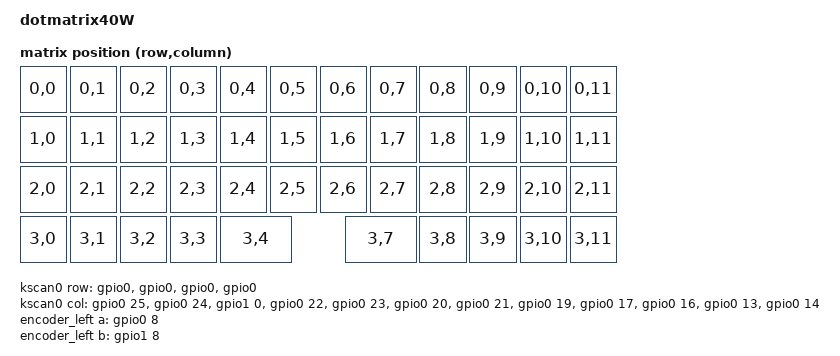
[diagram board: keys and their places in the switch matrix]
/*
 * Copyright (c) 2021 Nick Winans
 * Copyright (c) 2024
 *
 * SPDX-License-Identifier: MIT
 */

/dts-v1/;
#include <nordic/nrf52840_qiaa.dtsi>
#include <common/nordic/nrf52840_uf2_boot_mode.dtsi>

#include <dt-bindings/led/led.h>
#include <dt-bindings/zmk/matrix_transform.h>
#include <dt-bindings/pwm/pwm.h>
#include <dt-bindings/pinctrl/nrf-pinctrl.h>

#include <physical_layouts.dtsi>

#include "dotmatrix40W-pinctrl.dtsi"

/ {
    model = "dotmatrix40W";
    compatible = "dotmatrix40W";

    chosen {
        zephyr,code-partition = &code_partition;
        zephyr,sram = &sram0;
        zephyr,flash = &flash0;
        zmk,battery = &vbatt;
        zmk,kscan = &kscan0;
        zmk,physical-layout = &physical_layout0;
        zmk,underglow = &led_strip;
        zmk,backlight = &backlight;
    };

    default_transform: keymap_transform_0 {
        compatible = "zmk,matrix-transform";
        columns = <12>;
        rows = <4>;
        map = <
            RC(0,0) RC(0,1) RC(0,2) RC(0,3) RC(0,4) RC(0,5) RC(0,6) RC(0,7) RC(0,8) RC(0,9) RC(0,10) RC(0,11)
            RC(1,0) RC(1,1) RC(1,2) RC(1,3) RC(1,4) RC(1,5) RC(1,6) RC(1,7) RC(1,8) RC(1,9) RC(1,10) RC(1,11)
            RC(2,0) RC(2,1) RC(2,2) RC(2,3) RC(2,4) RC(2,5) RC(2,6) RC(2,7) RC(2,8) RC(2,9) RC(2,10) RC(2,11)
            RC(3,0) RC(3,1) RC(3,2) RC(3,3) RC(3,4)                 RC(3,7) RC(3,8) RC(3,9) RC(3,10) RC(3,11)
        >;
    };

    kscan0: kscan {
        compatible = "zmk,kscan-gpio-matrix";
        wakeup-source;

        diode-direction = "col2row";
        row-gpios = <&gpio0 4(GPIO_ACTIVE_HIGH | GPIO_PULL_DOWN)>,
            <&gpio0 5(GPIO_ACTIVE_HIGH | GPIO_PULL_DOWN)>,
            <&gpio0 6(GPIO_ACTIVE_HIGH | GPIO_PULL_DOWN)>,
            <&gpio0 7(GPIO_ACTIVE_HIGH | GPIO_PULL_DOWN)>;
        col-gpios = <&gpio0 25 GPIO_ACTIVE_HIGH>, 
            <&gpio0 24 GPIO_ACTIVE_HIGH>,
            <&gpio1 0 GPIO_ACTIVE_HIGH>, 
            <&gpio0 22 GPIO_ACTIVE_HIGH>,
            <&gpio0 23 GPIO_ACTIVE_HIGH>, 
            <&gpio0 20 GPIO_ACTIVE_HIGH>,
            <&gpio0 21 GPIO_ACTIVE_HIGH>, 
            <&gpio0 19 GPIO_ACTIVE_HIGH>,
            <&gpio0 17 GPIO_ACTIVE_HIGH>, 
            <&gpio0 16 GPIO_ACTIVE_HIGH>,
            <&gpio0 13 GPIO_ACTIVE_HIGH>, 
            <&gpio0 14 GPIO_ACTIVE_HIGH>;
    };

    leds {
        compatible = "gpio-leds";
        status_led: led_0 {
            gpios = <&gpio0 15 GPIO_ACTIVE_HIGH>;
            label = "Status LED";
        };
        blue_led: led_1 {
            gpios = <&gpio0 26 GPIO_ACTIVE_HIGH>;
        };
    };

    // Node name must match original "EXT_POWER" label to preserve user settings.
    EXT_POWER {
        compatible = "zmk,ext-power-generic";
        control-gpios = <&gpio0 5 GPIO_ACTIVE_LOW>;
    };

    vbatt: vbatt {
        compatible = "zmk,battery-voltage-divider";
        io-channels = <&adc 0>;
        output-ohms = <503000>;
        full-ohms = <(1000000 + 503000)>;
    };

    backlight: pwmleds {
        compatible = "pwm-leds";
        pwm_led_0: pwm_led_0 {
            pwms = <&pwm0 0 PWM_MSEC(10) PWM_POLARITY_NORMAL>;
        };
    };
    
    extra_power_2: extra_power_2 {
         compatible = "regulator-fixed";
         regulator-name = "extra_power_2";
         enable-gpios = <&gpio0 3 GPIO_ACTIVE_HIGH>;
         regulator-boot-on;
         regulator-always-on;
    };

    encoder_left: encoder_left {
        compatible = "alps,ec11";
        label = "LEFT_ENCODER";
        a-gpios = <&gpio0 8 (GPIO_ACTIVE_HIGH | GPIO_PULL_UP)>;
        b-gpios = <&gpio1 8 (GPIO_ACTIVE_HIGH | GPIO_PULL_UP)>;
        steps = <96>;
        status = "okay";
    };

    sensors: sensors {
        compatible = "zmk,keymap-sensors";
        sensors = <&encoder_left>;
        triggers-per-rotation = <24>;
    };

    physical_layout0: physical_layout_0 {
        compatible = "zmk,physical-layout";
        display-name = "Default Layout";
        transform = <&default_transform>;
        kscan = <&kscan0>;

        keys = <
            /* Row 0 */
            &key_physical_attrs 100 100 0 0 0 0 0
            &key_physical_attrs 100 100 100 0 0 0 0
            &key_physical_attrs 100 100 200 0 0 0 0
            &key_physical_attrs 100 100 300 0 0 0 0
            &key_physical_attrs 100 100 400 0 0 0 0
            &key_physical_attrs 100 100 500 0 0 0 0
            &key_physical_attrs 100 100 600 0 0 0 0
            &key_physical_attrs 100 100 700 0 0 0 0
            &key_physical_attrs 100 100 800 0 0 0 0
            &key_physical_attrs 100 100 900 0 0 0 0
            &key_physical_attrs 100 100 1000 0 0 0 0
            &key_physical_attrs 100 100 1100 0 0 0 0

            /* Row 1 */
            &key_physical_attrs 100 100 0 100 0 0 0
            &key_physical_attrs 100 100 100 100 0 0 0
            &key_physical_attrs 100 100 200 100 0 0 0
            &key_physical_attrs 100 100 300 100 0 0 0
            &key_physical_attrs 100 100 400 100 0 0 0
            &key_physical_attrs 100 100 500 100 0 0 0
            &key_physical_attrs 100 100 600 100 0 0 0
            &key_physical_attrs 100 100 700 100 0 0 0
            &key_physical_attrs 100 100 800 100 0 0 0
            &key_physical_attrs 100 100 900 100 0 0 0
            &key_physical_attrs 100 100 1000 100 0 0 0
            &key_physical_attrs 100 100 1100 100 0 0 0

            /* Row 2 */
            &key_physical_attrs 100 100 0 200 0 0 0
            &key_physical_attrs 100 100 100 200 0 0 0
            &key_physical_attrs 100 100 200 200 0 0 0
            &key_physical_attrs 100 100 300 200 0 0 0
            &key_physical_attrs 100 100 400 200 0 0 0
            &key_physical_attrs 100 100 500 200 0 0 0
            &key_physical_attrs 100 100 600 200 0 0 0
            &key_physical_attrs 100 100 700 200 0 0 0
            &key_physical_attrs 100 100 800 200 0 0 0
            &key_physical_attrs 100 100 900 200 0 0 0
            &key_physical_attrs 100 100 1000 200 0 0 0
            &key_physical_attrs 100 100 1100 200 0 0 0

            /* Row 3 (Bottom Row) */
            &key_physical_attrs 100 100 0 300 0 0 0      /* Fn1 */
            &key_physical_attrs 100 100 100 300 0 0 0    /* Option */
            &key_physical_attrs 100 100 200 300 0 0 0    /* Cmd */
            &key_physical_attrs 100 100 300 300 0 0 0    /* 英数 */
            &key_physical_attrs 150 100 400 300 0 0 0    /* Space (1.5U) */
            
            /* (x=550にエンコーダーがありますが、キースイッチではないためここではスキップします) */

            &key_physical_attrs 150 100 650 300 0 0 0    /* Enter (1.5U) */
            &key_physical_attrs 100 100 800 300 0 0 0    /* かな */
            &key_physical_attrs 100 100 900 300 0 0 0    /* = - */
            &key_physical_attrs 100 100 1000 300 0 0 0   /* ~ ^ */
            &key_physical_attrs 100 100 1100 300 0 0 0   /* Fn2 */
        >;
    };
};

&pinctrl {
    pwm0_default: pwm0_default {
        group1 {
            psels = <NRF_PSEL(PWM_OUT0, 1, 9)>;
        };
    };
    pwm0_sleep: pwm0_sleep {
        group1 {
            psels = <NRF_PSEL(PWM_OUT0, 1, 9)>;
            low-power-enable;
        };
    };
};

&pwm0 {
    status = "okay";
    pinctrl-0 = <&pwm0_default>;
    pinctrl-1 = <&pwm0_sleep>;
    pinctrl-names = "default", "sleep";
};

&reg1 {
    regulator-initial-mode = <NRF5X_REG_MODE_DCDC>;
};

&adc {
    status = "okay";
};

&gpiote {
    status = "okay";
};

&gpio0 {
    status = "okay";
};

&gpio1 {
    status = "okay";
};

&spi3 {
    compatible = "nordic,nrf-spim";

    pinctrl-0 = <&spi3_default>;
    pinctrl-1 = <&spi3_sleep>;
    pinctrl-names = "default", "sleep";
    status = "okay";

    led_strip: ws2812@0 {
        compatible = "worldsemi,ws2812-spi";

        /* SPI */
        reg = <0>; /* ignored, but necessary for SPI bindings */
        spi-max-frequency = <4000000>;

        /* WS2812 */
        chain-length = <12>; /* LED strip length */
        spi-one-frame = <0x70>;
        spi-zero-frame = <0x40>;
        color-mapping = <LED_COLOR_ID_GREEN LED_COLOR_ID_RED LED_COLOR_ID_BLUE>;
    };
};

zephyr_udc0: &usbd {
    status = "okay";
};

&flash0 {
    /*
     * For more information, see:
     * http://docs.zephyrproject.org/latest/devices/dts/flash_partitions.html
     */
    partitions {
        compatible = "fixed-partitions";
        #address-cells = <1>;
        #size-cells = <1>;

        sd_partition: partition@0 {
            reg = <0x00000000 0x00001000>;
        };

        code_partition: partition@1000 {
            reg = <0x00001000 0x000d3000>;
        };

        /*
         * The flash starting at 0x000d4000 and ending at
         * 0x000f3fff is reserved for use by the application.
         */

        /*
         * Storage partition will be used by FCB/LittleFS/NVS
         * if enabled.
         */
        storage_partition: partition@d4000 {
            reg = <0x000d4000 0x00020000>;
        };

        boot_partition: partition@f4000 {
            reg = <0x000f4000 0x0000c000>;
        };
    };
};
